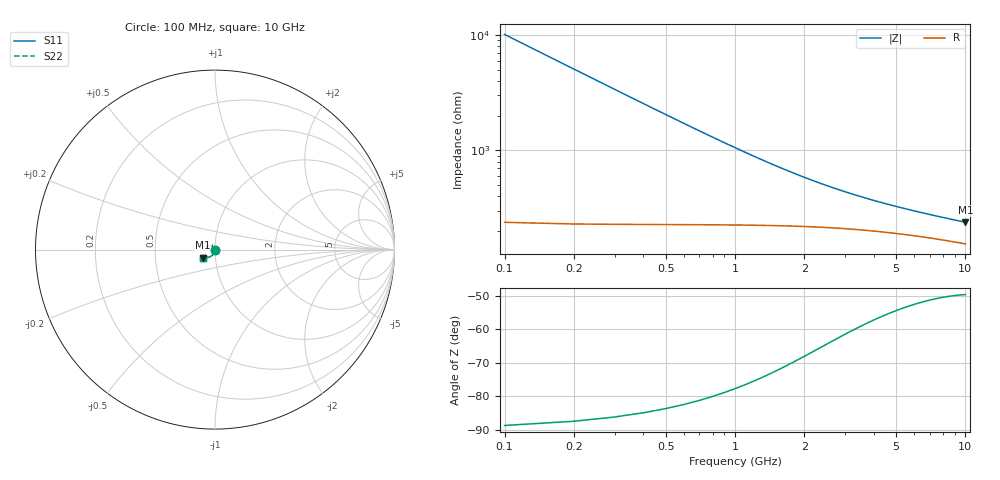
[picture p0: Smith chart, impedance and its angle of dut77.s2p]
! Touchstone file exported from HFSS 2024.1.0
!  File:  C:/UserFiles/LocalFiles/RDL_TSV_Batchsim/temp_TSV1_77_1778750704.aedt
!  Generated:  05:29:40 PM May 14, 2026
!  Design:  TSV1
!  Project:  temp_TSV1_77_1778750704
!  Setup:  Setup1
!  Solution:  Sweep
! Variables:
!  dtsv = 16.01um
!  hbump = 3um
!  htsv = 80.64um
!  lrdl = 252.1521522um
!  p = 40
!  p1 = 43.51um
!  t = 500um
!  trdl = 3um
!  wrdl = 24.89489489um
# GHz S MA R 50.000000
! Terminal data exported
! Port[1] = TSV22_T1
! Port[2] = TSV22_T2
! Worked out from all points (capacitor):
!   100 points, 100 MHz to 10 GHz, reference 50 ohm
!   read as one part in shunt: C = 157 fF near 100 MHz
!   lowest |Z| = 239 ohm at 10 GHz (marker M1)
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0.1  0.002169 -89.4  0.9999 -0.2  0.9999 -0.2  0.002169 -89.4
! Gamma 0 0 0 0
! Port Impedance 50 0 50 0
0.2  0.004329 -92.0  0.9997 -0.3  0.9997 -0.3  0.004329 -92.0
0.3  0.006478 -93.9  0.9994 -0.5  0.9994 -0.5  0.006478 -93.9
0.4  0.00861 -95.6  0.999 -0.6  0.999 -0.6  0.00861 -95.6
0.5  0.01072 -97.3  0.9985 -0.8  0.9985 -0.8  0.01072 -97.3
0.6  0.0128 -98.8  0.9978 -0.9  0.9978 -0.9  0.0128 -98.8
0.7  0.01485 -100.3  0.9971 -1.1  0.9971 -1.1  0.01485 -100.3
0.8  0.01686 -101.8  0.9963 -1.2  0.9963 -1.2  0.01686 -101.8
0.9  0.01883 -103.3  0.9955 -1.3  0.9955 -1.3  0.01883 -103.3
1.1  0.02264 -106.1  0.9935 -1.6  0.9935 -1.6  0.02264 -106.1
1.4  0.02799 -110.0  0.9903 -2.0  0.9903 -2.0  0.02799 -110.0
1.6  0.03129 -112.4  0.988 -2.2  0.988 -2.2  0.03129 -112.4
1.8  0.03438 -114.6  0.9856 -2.4  0.9856 -2.4  0.03438 -114.6
2.1  0.03863 -117.8  0.9821 -2.6  0.9821 -2.6  0.03863 -117.8
2.5  0.04362 -121.4  0.9775 -2.9  0.9775 -2.9  0.04362 -121.4
2.9  0.04795 -124.6  0.9732 -3.2  0.9732 -3.2  0.04795 -124.6
3.4  0.05258 -127.9  0.9683 -3.4  0.9683 -3.4  0.05258 -127.9
4.2  0.05863 -132.2  0.9615 -3.8  0.9615 -3.8  0.05863 -132.2
5.1  0.06406 -135.7  0.955 -4.2  0.955 -4.2  0.06406 -135.7
6.7  0.07144 -140.2  0.9461 -4.7  0.9461 -4.7  0.07144 -140.2
8.4  0.07731 -143.6  0.9391 -5.3  0.9391 -5.3  0.07731 -143.6
10  0.08156 -145.9  0.9341 -5.7  0.9341 -5.7  0.08156 -145.9
